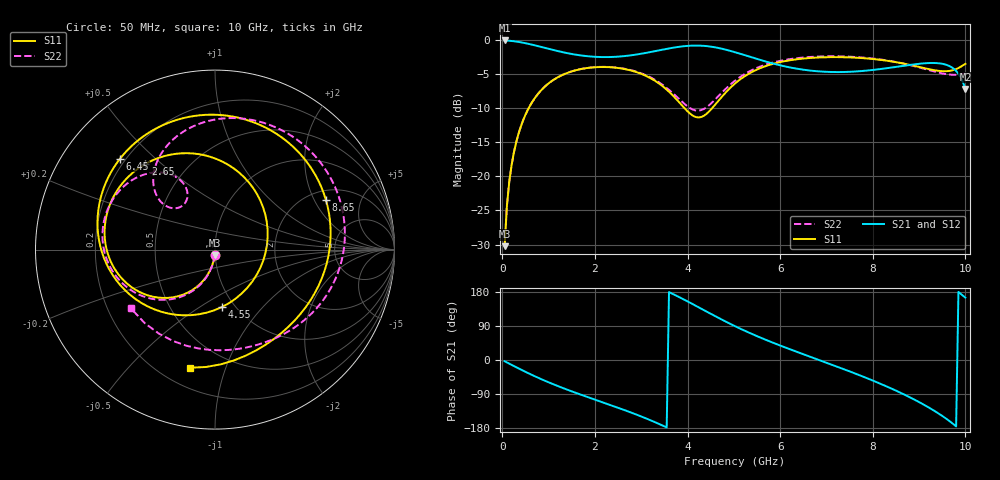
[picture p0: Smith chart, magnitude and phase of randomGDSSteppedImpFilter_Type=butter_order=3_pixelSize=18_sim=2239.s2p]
! freq	dB(S11)	phase(S11)	dB(S12)	phase(S12)
!  dB(S21)	phase(S21)	dB(S22)	phase(S22)
!S-par simulation data
#  GHz  S  DB  R 50
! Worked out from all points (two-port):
!   200 points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, 50 MHz to 10 GHz, reference 50 ohm
!   highest |S21| = -0.01 dB at 50 MHz (marker M1); lowest = -7.1 dB at 10 GHz (marker M2)
!   |S21| within 3 dB of the highest: start of sweep to 5.638 GHz
!   lowest |S11| = -30.2 dB at 50 MHz (marker M3), VSWR 1.06, Z = 49.7 - j3.06 ohm
!   |S11| at or under -10 dB: start of sweep to 567.2 MHz; 3.94 GHz to 4.526 GHz (586.2 MHz wide, 13.8 % of centre)
!   |S22| runs from -30.2 to -2.3 dB; largest |S21 - S12| = 0
!   S11 on the Smith chart (normalised r, x): 50 MHz: 0.99, -0.06; 2.65 GHz: 0.29, +0.44; 4.55 GHz: 0.87, -0.62; 6.45 GHz: 0.18, +0.39; 8.65 GHz: 2.42, +2.49; 10 GHz: 0.32, -0.76
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0.05  -30.24 -93.4  -0.01 -3.3  -0.01 -3.3  -30.24 -93.3
0.1  -24.26 -96.9  -0.03 -6.5  -0.03 -6.5  -24.26 -96.6
0.2  -18.35 -103.5  -0.08 -12.8  -0.08 -12.8  -18.35 -103.0
0.5  -10.93 -122.4  -0.41 -31.2  -0.41 -31.2  -10.93 -121.0
1.05  -6.06 -153.5  -1.32 -61.4  -1.32 -61.4  -6.05 -150.4
1.75  -4.15 172.5  -2.26 -93.8  -2.26 -93.8  -4.13 179.0
2.65  -4.22 129.1  -2.30 -132.7  -2.30 -132.7  -4.18 145.2
3.05  -5.05 106.1  -1.90 -151.4  -1.90 -151.4  -4.97 131.3
3.4  -6.41 81.1  -1.44 -169.6  -1.44 -169.6  -6.24 120.8
4  -10.42 13.2  -0.81 154.7  -0.81 154.7  -9.70 118.1
4.55  -9.82 -83.5  -0.96 118.8  -0.96 118.8  -8.99 137.9
5.05  -6.19 -139.7  -1.79 87.8  -1.79 87.8  -5.79 132.1
5.7  -3.75 175.0  -3.13 52.7  -3.13 52.7  -3.53 108.7
6.45  -2.70 136.2  -4.26 17.5  -4.26 17.5  -2.55 78.4
6.7  -2.56 124.4  -4.47 6.3  -4.47 6.3  -2.42 68.1
7.55  -2.51 84.6  -4.60 -32.3  -4.60 -32.3  -2.41 32.0
8.35  -3.03 42.6  -4.04 -72.5  -4.04 -72.5  -2.99 -4.8
8.65  -3.38 24.3  -3.75 -89.4  -3.75 -89.4  -3.39 -19.7
9.05  -3.98 -3.5  -3.40 -114.3  -3.40 -114.3  -4.06 -41.5
9.4  -4.46 -32.3  -3.35 -139.5  -3.35 -139.5  -4.69 -64.6
9.75  -4.34 -68.1  -4.18 -170.1  -4.18 -170.1  -5.06 -99.5
10  -3.44 -102.0  -7.13 164.6  -7.13 164.6  -4.86 -145.1
